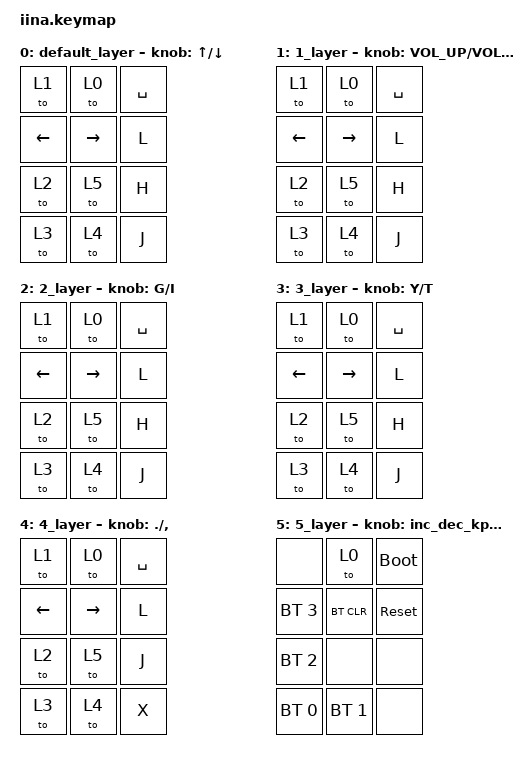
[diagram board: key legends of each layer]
#include <behaviors.dtsi>
#include <dt-bindings/zmk/keys.h>
#include <dt-bindings/zmk/bt.h>

#define L0 0
#define L1 1
#define L2 2
#define L3 3
#define L4 4
#define L5 5

/ {
    keymap {
        compatible = "zmk,keymap";

        default_layer {
            bindings = <
                &to L1      &to L0      &kp SPACE
                &kp LEFT    &kp RIGHT   &kp L
                &to L2      &to L5      &kp H
                &to L3      &to L4      &kp J
            >;
            sensor-bindings = <&inc_dec_kp UP DOWN>;
        };

        1_layer {
            bindings = <
                &to L1      &to L0      &kp SPACE
                &kp LEFT    &kp RIGHT   &kp L
                &to L2      &to L5      &kp H
                &to L3      &to L4      &kp J
            >;
            sensor-bindings = <&inc_dec_kp C_VOL_UP C_VOL_DN>;
        };

        2_layer {
            bindings = <
                &to L1      &to L0      &kp SPACE
                &kp LEFT    &kp RIGHT   &kp L
                &to L2      &to L5      &kp H
                &to L3      &to L4      &kp J
            >;
            sensor-bindings = <&inc_dec_kp G I>;
        };

        3_layer {
            bindings = <
                &to L1      &to L0      &kp SPACE
                &kp LEFT    &kp RIGHT   &kp L
                &to L2      &to L5      &kp H
                &to L3      &to L4      &kp J
            >;
            sensor-bindings = <&inc_dec_kp Y T>;
        };

        4_layer {
            bindings = <
                &to L1      &to L0      &kp SPACE
                &kp LEFT    &kp RIGHT   &kp L
                &to L2      &to L5      &kp J
                &to L3      &to L4      &kp X
            >;
            sensor-bindings = <&inc_dec_kp PERIOD COMMA>;
        };

        5_layer {
            bindings = <
                &none               &to L0          &bootloader
                &bt BT_SEL 3        &bt BT_CLR      &sys_reset
                &bt BT_SEL 2        &none           &none
                &bt BT_SEL 0        &bt BT_SEL 1    &none
            >;
            sensor-bindings = <&inc_dec_kp &none &none>;
        };
    };
};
